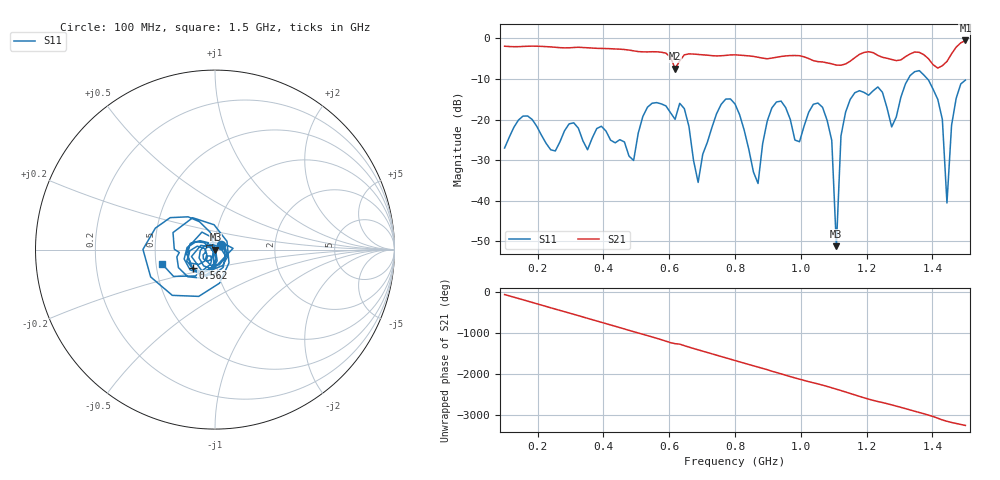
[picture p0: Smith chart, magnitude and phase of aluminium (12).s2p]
! NanoVNA-App
! Date: 2025-09-25 14:55:22
! Start: 100MHz Stop: 1,5GHz Points: 101
! S-Parameter data: F S11 S21 S12 S22
# Hz S RI R 50
!  Frequency  S11_Real  S11_Imag  S21_Real  S21_Imag  S12_Real  S12_Imag  S22_Real  S22_Imag
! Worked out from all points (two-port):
!   101 points, 100 MHz to 1.5 GHz, reference 50 ohm
!   highest |S21| = -0.49 dB at 1.5 GHz (marker M1); lowest = -7.4 dB at 618 MHz (marker M2)
!   |S21| within 3 dB of the highest: start of sweep to 582.2 MHz; 1.461 GHz to end of sweep (the widest 2 of 4)
!   lowest |S11| = -51.2 dB at 1.108 GHz (marker M3), VSWR 1.01, Z = 50.3 + j0.0124 ohm
!   |S11| at or under -10 dB: start of sweep to 1.326 GHz; 1.385 GHz to end of sweep
!   S12 and S22 are empty: the file has one direction only
!   S11 on the Smith chart (normalised r, x): 100 MHz: 1.07, +0.06; 562 MHz: 0.76, -0.16; 1.5 GHz: 0.54, -0.09
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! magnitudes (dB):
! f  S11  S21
! 100 MHz  -27.0  -1.9
! 338 MHz  -25.2  -2.2
! 492 MHz  -30.1  -3.1
! 562 MHz  -15.8  -3.3
! 576 MHz  -16.1  -3.4
! 618 MHz  -19.9  -7.4
! 688 MHz  -35.5  -3.9
! 800 MHz  -16.1  -4.0
! 870 MHz  -35.8  -4.6
! 912 MHz  -17.1  -4.8
! 996 MHz  -25.5  -4.3
! 1.038 GHz  -16.2  -5.5
! 1.094 GHz  -25.1  -6.3
! 1.108 GHz  -51.2  -6.6
! 1.122 GHz  -24.0  -6.6
! 1.15 GHz  -15.0  -5.6
! 1.276 GHz  -21.8  -5.2
! 1.388 GHz  -10.3  -5.0
! 1.43 GHz  -20.0  -6.7
! 1.444 GHz  -40.6  -5.7
! 1.458 GHz  -21.4  -3.8
! 1.5 GHz  -10.3  -0.5
